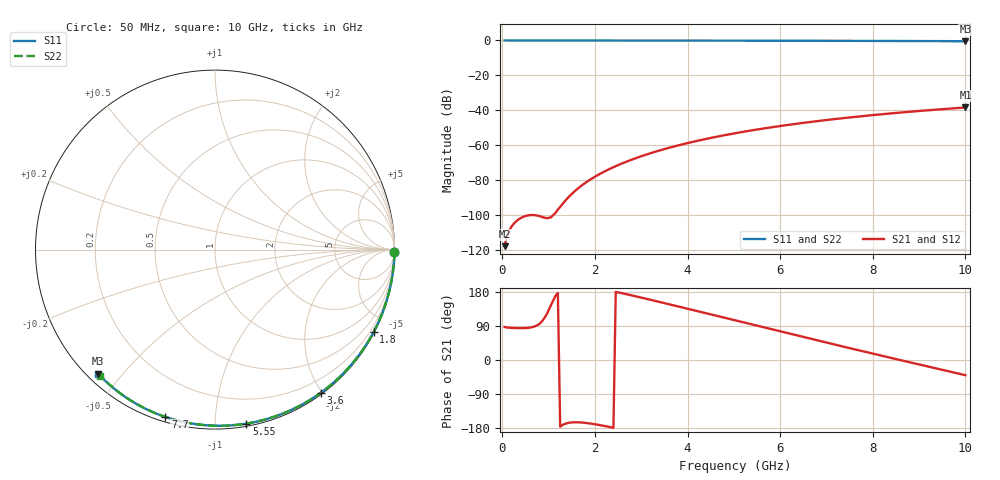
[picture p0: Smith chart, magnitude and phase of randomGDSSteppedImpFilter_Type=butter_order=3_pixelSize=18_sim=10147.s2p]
! freq	dB(S11)	phase(S11)	dB(S12)	phase(S12)
!  dB(S21)	phase(S21)	dB(S22)	phase(S22)
!S-par simulation data
#  GHz  S  DB  R 50
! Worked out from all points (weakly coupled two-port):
!   200 points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, 50 MHz to 10 GHz, reference 50 ohm
!   highest |S21| = -38.30 dB at 10 GHz (marker M1); lowest = -117.5 dB at 50 MHz (marker M2)
!   lowest |S11| = -0.4 dB at 10 GHz (marker M3), VSWR 38.79, Z = 1.53 - j21.5 ohm
!   |S11| at or under -10 dB: nowhere
!   |S22| runs from -0.4 to 0.0 dB; largest |S21 - S12| = 0
!   S11 on the Smith chart (normalised r, x): 50 MHz: open; 1.8 GHz: 0.04, -4.11; 3.6 GHz: 0.02, -1.99; 5.55 GHz: 0.02, -1.20; 7.7 GHz: 0.02, -0.75; 10 GHz: 0.03, -0.43
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0.05  -0.00 -0.8  -117.54 87.2  -117.54 87.2  -0.00 -0.8
0.45  -0.01 -6.9  -100.79 84.1  -100.79 84.1  -0.01 -6.9
0.9  -0.02 -13.8  -101.20 109.1  -101.20 109.1  -0.02 -13.7
1.75  -0.03 -26.6  -82.18 -165.4  -82.18 -165.4  -0.03 -26.4
1.8  -0.03 -27.3  -81.24 -166.0  -81.24 -166.0  -0.03 -27.1
1.85  -0.04 -28.1  -80.34 -166.8  -80.34 -166.8  -0.04 -27.9
1.9  -0.04 -28.8  -79.48 -167.6  -79.48 -167.6  -0.04 -28.6
2.05  -0.04 -31.1  -77.09 -170.5  -77.09 -170.5  -0.04 -30.8
2.25  -0.04 -34.0  -74.28 -175.1  -74.28 -175.1  -0.04 -33.7
2.65  -0.05 -39.9  -69.57 174.5  -69.57 174.5  -0.05 -39.5
3  -0.06 -44.9  -66.16 164.7  -66.16 164.7  -0.06 -44.5
3.4  -0.07 -50.6  -62.82 153.1  -62.82 153.1  -0.07 -50.2
3.6  -0.07 -53.4  -61.33 147.2  -61.33 147.2  -0.07 -53.0
4.3  -0.09 -63.2  -56.83 126.3  -56.83 126.3  -0.09 -62.6
5.05  -0.11 -73.2  -52.91 103.8  -52.91 103.8  -0.11 -72.7
5.55  -0.13 -79.8  -50.68 88.9  -50.68 88.9  -0.13 -79.2
6.1  -0.15 -86.9  -48.51 72.5  -48.51 72.5  -0.15 -86.2
6.7  -0.18 -94.4  -46.42 54.7  -46.42 54.7  -0.18 -93.6
7.7  -0.24 -106.5  -43.44 25.5  -43.44 25.5  -0.24 -105.7
8.35  -0.29 -114.2  -41.78 6.8  -41.78 6.8  -0.29 -113.3
9.15  -0.36 -123.6  -39.97 -16.0  -39.97 -16.0  -0.36 -122.6
10  -0.45 -133.3  -38.30 -40.1  -38.30 -40.1  -0.45 -132.2
